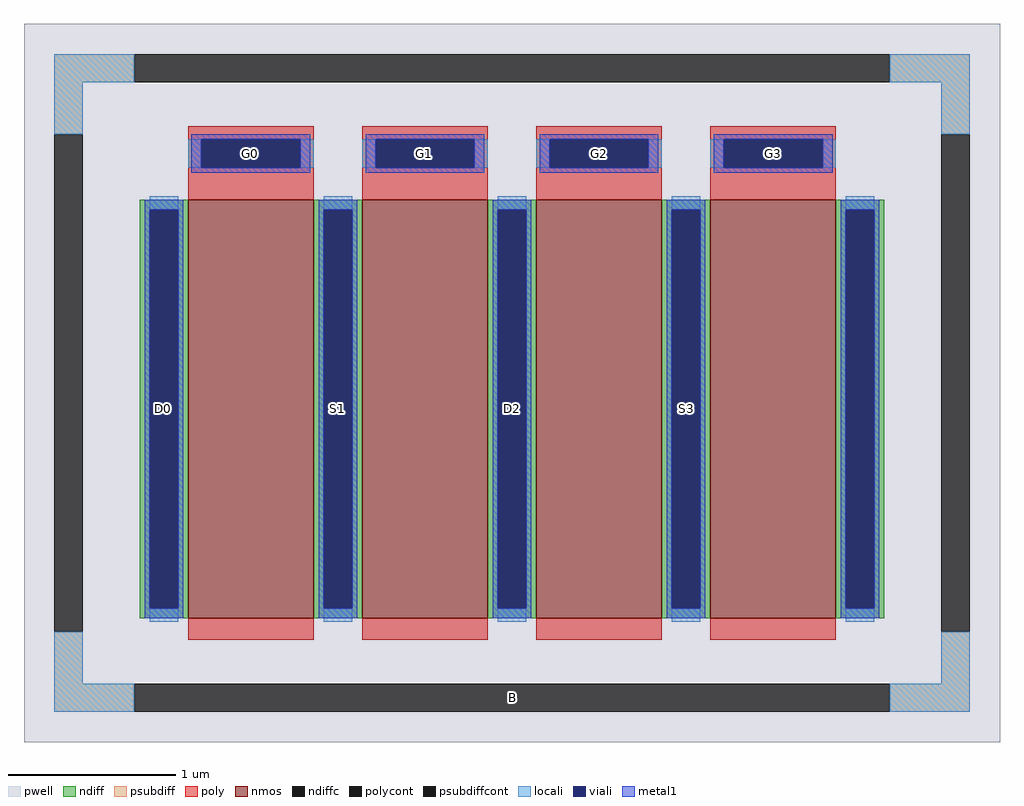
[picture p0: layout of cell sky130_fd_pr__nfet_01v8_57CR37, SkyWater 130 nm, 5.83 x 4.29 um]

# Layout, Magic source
magic
tech sky130A
magscale 1 2
<< pwell >>
rect -583 -429 583 429
<< nmos >>
rect -387 -281 -237 219
rect -179 -281 -29 219
rect 29 -281 179 219
rect 237 -281 387 219
<< ndiff >>
rect -445 207 -387 219
rect -445 -269 -433 207
rect -399 -269 -387 207
rect -445 -281 -387 -269
rect -237 207 -179 219
rect -237 -269 -225 207
rect -191 -269 -179 207
rect -237 -281 -179 -269
rect -29 207 29 219
rect -29 -269 -17 207
rect 17 -269 29 207
rect -29 -281 29 -269
rect 179 207 237 219
rect 179 -269 191 207
rect 225 -269 237 207
rect 179 -281 237 -269
rect 387 207 445 219
rect 387 -269 399 207
rect 433 -269 445 207
rect 387 -281 445 -269
<< ndiffc >>
rect -433 -269 -399 207
rect -225 -269 -191 207
rect -17 -269 17 207
rect 191 -269 225 207
rect 399 -269 433 207
<< psubdiff >>
rect -547 359 -451 393
rect 451 359 547 393
rect -547 297 -513 359
rect 513 297 547 359
rect -547 -359 -513 -297
rect 513 -359 547 -297
rect -547 -393 -451 -359
rect 451 -393 547 -359
<< psubdiffcont >>
rect -451 359 451 393
rect -547 -297 -513 297
rect 513 -297 547 297
rect -451 -393 451 -359
<< poly >>
rect -387 291 -237 307
rect -387 257 -371 291
rect -253 257 -237 291
rect -387 219 -237 257
rect -179 291 -29 307
rect -179 257 -163 291
rect -45 257 -29 291
rect -179 219 -29 257
rect 29 291 179 307
rect 29 257 45 291
rect 163 257 179 291
rect 29 219 179 257
rect 237 291 387 307
rect 237 257 253 291
rect 371 257 387 291
rect 237 219 387 257
rect -387 -307 -237 -281
rect -179 -307 -29 -281
rect 29 -307 179 -281
rect 237 -307 387 -281
<< polycont >>
rect -371 257 -253 291
rect -163 257 -45 291
rect 45 257 163 291
rect 253 257 371 291
<< locali >>
rect -547 359 -451 393
rect 451 359 547 393
rect -547 297 -513 359
rect 513 297 547 359
rect -387 257 -371 291
rect -253 257 -237 291
rect -179 257 -163 291
rect -45 257 -29 291
rect 29 257 45 291
rect 163 257 179 291
rect 237 257 253 291
rect 371 257 387 291
rect -433 207 -399 223
rect -433 -285 -399 -269
rect -225 207 -191 223
rect -225 -285 -191 -269
rect -17 207 17 223
rect -17 -285 17 -269
rect 191 207 225 223
rect 191 -285 225 -269
rect 399 207 433 223
rect 399 -285 433 -269
rect -547 -359 -513 -297
rect 513 -359 547 -297
rect -547 -393 -451 -359
rect 451 -393 547 -359
<< viali >>
rect -371 257 -253 291
rect -163 257 -45 291
rect 45 257 163 291
rect 253 257 371 291
rect -433 -269 -399 207
rect -225 -269 -191 207
rect -17 -269 17 207
rect 191 -269 225 207
rect 399 -269 433 207
<< metal1 >>
rect -383 291 -241 297
rect -383 257 -371 291
rect -253 257 -241 291
rect -383 251 -241 257
rect -175 291 -33 297
rect -175 257 -163 291
rect -45 257 -33 291
rect -175 251 -33 257
rect 33 291 175 297
rect 33 257 45 291
rect 163 257 175 291
rect 33 251 175 257
rect 241 291 383 297
rect 241 257 253 291
rect 371 257 383 291
rect 241 251 383 257
rect -439 207 -393 219
rect -439 -269 -433 207
rect -399 -269 -393 207
rect -439 -281 -393 -269
rect -231 207 -185 219
rect -231 -269 -225 207
rect -191 -269 -185 207
rect -231 -281 -185 -269
rect -23 207 23 219
rect -23 -269 -17 207
rect 17 -269 23 207
rect -23 -281 23 -269
rect 185 207 231 219
rect 185 -269 191 207
rect 225 -269 231 207
rect 185 -281 231 -269
rect 393 207 439 219
rect 393 -269 399 207
rect 433 -269 439 207
rect 393 -281 439 -269
<< labels >>
rlabel psubdiffcont 0 -376 0 -376 0 B
port 1 nsew
rlabel ndiffc -416 -31 -416 -31 0 D0
port 2 nsew
rlabel polycont -312 274 -312 274 0 G0
port 3 nsew
rlabel ndiffc -208 -31 -208 -31 0 S1
port 4 nsew
rlabel polycont -104 274 -104 274 0 G1
port 5 nsew
rlabel ndiffc 0 -31 0 -31 0 D2
port 6 nsew
rlabel polycont 104 274 104 274 0 G2
port 7 nsew
rlabel ndiffc 208 -31 208 -31 0 S3
port 8 nsew
rlabel polycont 312 274 312 274 0 G3
port 9 nsew
<< properties >>
string FIXED_BBOX -530 -376 530 376
string gencell sky130_fd_pr__nfet_01v8
string library sky130
string parameters w 2.5 l 0.75 m 1 nf 4 diffcov 100 polycov 100 guard 1 glc 1 grc 1 gtc 1 gbc 1 tbcov 100 rlcov 100 topc 1 botc 0 poverlap 0 doverlap 1 lmin 0.15 wmin 0.42 class mosfet compatible {sky130_fd_pr__nfet_01v8 sky130_fd_pr__nfet_01v8_lvt  sky130_fd_bs_flash__special_sonosfet_star  sky130_fd_pr__nfet_g5v0d10v5 sky130_fd_pr__nfet_05v0_nvt  sky130_fd_pr__nfet_03v3_nvt} full_metal 1 conn_gates 0 viasrc 100 viadrn 100 viagate 100 viagb 0 viagr 0 viagl 0 viagt 0 doports 1
<< end >>
